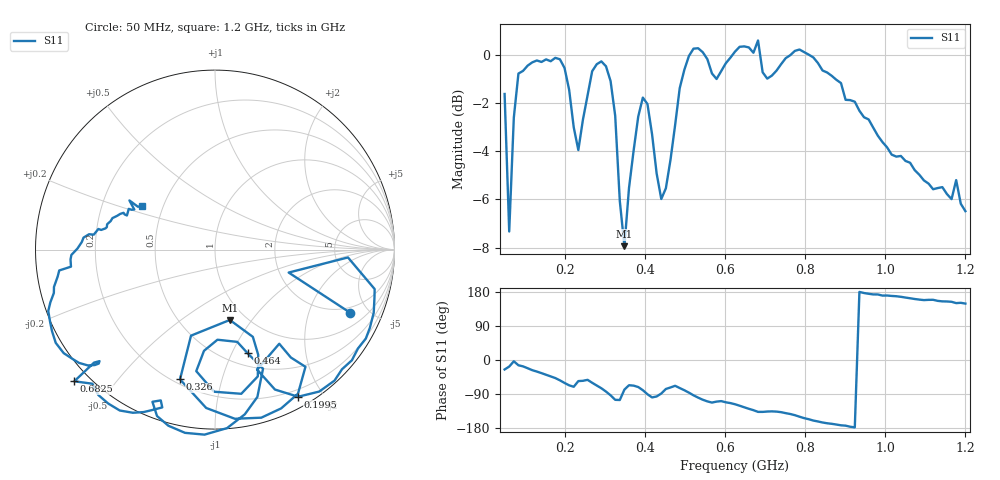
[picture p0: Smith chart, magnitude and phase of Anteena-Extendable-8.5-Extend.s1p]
# HZ S RI R 50
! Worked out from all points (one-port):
!   101 points, 50 MHz to 1.2 GHz, reference 50 ohm
!   lowest |S11| = -7.9 dB at 349 MHz (marker M1), VSWR 2.34, Z = 42.2 - j39.4 ohm
!   |S11| at or under -10 dB: nowhere
!   S11 on the Smith chart (normalised r, x): 50 MHz: 1.68, -3.81; 199.5 MHz: 0.12, -1.71; 326 MHz: 0.23, -0.74; 464 MHz: 0.63, -1.15; 682.5 MHz: -0.04, -0.39; 1.2 GHz: 0.38, +0.24
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5e7  0.7528 -0.3516
6.15e7  0.4104 -0.1279
7.3e7  0.7408 -0.0437
8.45e7  0.8896 -0.2199
1.305e8  0.8403 -0.4958
1.995e8  0.4632 -0.8197
2.225e8  0.2344 -0.6685
2.34e8  0.358 -0.5245
2.685e8  0.4623 -0.803
3.03e8  0.1105 -0.9425
3.26e8  -0.1949 -0.7229
3.375e8  -0.1336 -0.4793
3.49e8  0.0828 -0.392
3.72e8  0.2408 -0.5862
3.95e8  0.1464 -0.8033
4.18e8  -0.1045 -0.6771
4.41e8  0.0137 -0.5021
4.64e8  0.1823 -0.578
4.87e8  0.2362 -0.8209
5.215e8  -0.0582 -1.031
5.56e8  -0.3231 -0.9272
6.25e8  -0.4577 -0.909
6.825e8  -0.7841 -0.7337
7.17e8  -0.6479 -0.6351
7.745e8  -0.8432 -0.5766
9.125e8  -0.805 -0.055
1.062e9  -0.5712 0.1756
1.2e9  -0.4055 0.2453
